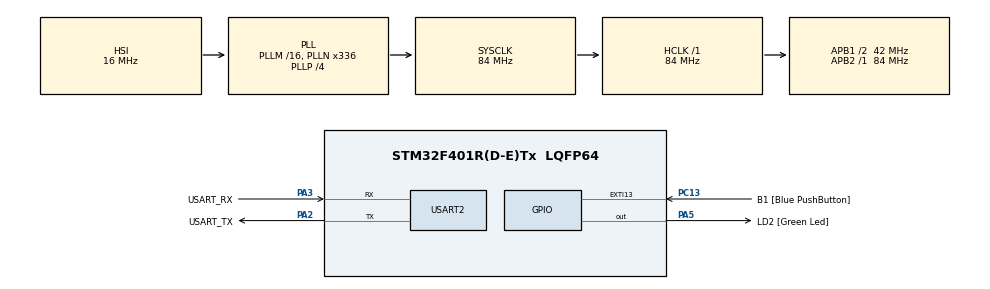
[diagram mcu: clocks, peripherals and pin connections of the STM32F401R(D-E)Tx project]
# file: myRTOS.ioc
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Mcu.Family=STM32F4
Mcu.Name=STM32F401R(D-E)Tx
Mcu.Package=LQFP64
NVIC.PriorityGroup=NVIC_PRIORITYGROUP_0
PA13.GPIO_Label=TMS
PA13.Mode=Serial_Wire
PA13.Signal=SYS_JTMS-SWDIO
PA14.GPIO_Label=TCK
PA14.Mode=Serial_Wire
PA14.Signal=SYS_JTCK-SWCLK
PA2.GPIO_Label=USART_TX
PA2.GPIO_Mode=GPIO_MODE_AF_PP
PA2.GPIO_PuPd=GPIO_NOPULL
PA2.GPIO_Speed=GPIO_SPEED_FREQ_LOW
PA2.Mode=Asynchronous
PA2.Signal=USART2_TX
PA3.GPIO_Label=USART_RX
PA3.GPIO_Mode=GPIO_MODE_AF_PP
PA3.GPIO_PuPd=GPIO_NOPULL
PA3.GPIO_Speed=GPIO_SPEED_FREQ_LOW
PA3.Mode=Asynchronous
PA3.Signal=USART2_RX
PA5.GPIO_Label=LD2 [Green Led]
PA5.GPIO_Mode=GPIO_MODE_OUTPUT_PP
PA5.GPIO_PuPd=GPIO_NOPULL
PA5.GPIO_Speed=GPIO_SPEED_FREQ_LOW
PA5.Signal=GPIO_Output
PB3.GPIO_Label=SWO
PB3.Signal=SYS_JTDO-SWO
PC13-ANTI_TAMP.GPIO_Label=B1 [Blue PushButton]
PC13-ANTI_TAMP.GPIO_ModeDefaultEXTI=GPIO_MODE_IT_FALLING
PC13-ANTI_TAMP.GPIO_PuPd=GPIO_NOPULL
PC13-ANTI_TAMP.Signal=GPXTI13
PC14-OSC32_IN.Mode=LSE-External-Oscillator
PC14-OSC32_IN.Signal=RCC_OSC32_IN
PC15-OSC32_OUT.Mode=LSE-External-Oscillator
PC15-OSC32_OUT.Signal=RCC_OSC32_OUT
PH0\ -\ OSC_IN.Mode=HSE-External-Clock-Source
PH0\ -\ OSC_IN.Signal=RCC_OSC_IN
PH1\ -\ OSC_OUT.Mode=HSE-External-Clock-Source
PH1\ -\ OSC_OUT.Signal=RCC_OSC_OUT
ProjectManager.HeapSize=0x200
ProjectManager.StackSize=0x400
ProjectManager.TargetToolchain=STM32CubeIDE
RCC.48MHZClocksFreq_Value=48000000
RCC.AHBFreq_Value=84000000
RCC.APB1CLKDivider=RCC_HCLK_DIV2
RCC.APB1Freq_Value=42000000
RCC.APB1TimFreq_Value=84000000
RCC.APB2Freq_Value=84000000
RCC.APB2TimFreq_Value=84000000
RCC.CortexFreq_Value=84000000
RCC.HCLKFreq_Value=84000000
RCC.HSE_VALUE=8000000
RCC.HSI_VALUE=16000000
RCC.PLLN=336
RCC.PLLP=RCC_PLLP_DIV4
RCC.PLLQ=7
RCC.SYSCLKFreq_VALUE=84000000
RCC.SYSCLKSource=RCC_SYSCLKSOURCE_PLLCLK
RCC.VCOOutputFreq_Value=336000000
USART2.VirtualMode=VM_ASYNC
board=NUCLEO-F401RE

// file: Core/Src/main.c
/* USER CODE BEGIN Header */
/**
  ******************************************************************************
  * @file           : main.c
  * @brief          : Main program body
  ******************************************************************************
  * @attention
  *
  * Copyright (c) 2023 STMicroelectronics.
  * All rights reserved.
  *
  * This software is licensed under terms that can be found in the LICENSE file
  * in the root directory of this software component.
  * If no LICENSE file comes with this software, it is provided AS-IS.
  *
  ******************************************************************************
  */
/* USER CODE END Header */
#include "main.h"
#include "kernel.h"
#include<stdio.h>

UART_HandleTypeDef huart2;

void SystemClock_Config(void);
static void MX_GPIO_Init(void);
static void MX_USART2_UART_Init(void);
uint32_t global_variable = 1;
//#define THREAD_STACK_SIZE 1024  // or any size suitable for your application

int __io_putchar(int ch)
{
	HAL_UART_Transmit(&huart2,(uint8_t*)&ch,1,HAL_MAX_DELAY);
	return ch;
}
/* USER CODE BEGIN PFP */
void thread_function(void* args)
{

}

void modify_global_variable(void* args){
	input_arguments input = *(input_arguments*)args;
	while(1)
	{
		global_variable += input.add;
		if (global_variable%21 == 0)
			global_variable /= input.div;
		osYield();
	}
}
void print_global_variable(void* args)
{
	uint32_t* input = (uint32_t*)args;
	while(1)
	{
		printf("global_variable: %ld\r\n", *input);
	}
}
void jumpAssembly(void* fcn)
{
	__asm("MOV PC, R0");
}

void print_error(void)
{
	__asm("SVC #1");
}
void print_success(void)
{
	__asm("SVC #0");
}
void run_thread(void)
{
	__asm("SVC #0x3");
}

/* USER CODE END PFP */

int main(void)
{

  /* MCU Configuration--------------------------------------------------------*/

  /* Reset of all peripherals, Initializes the Flash interface and the Systick. */
  HAL_Init();

  /* Configure the system clock */
  SystemClock_Config();

  /* Initialize all configured peripherals */
  MX_GPIO_Init();
  MX_USART2_UART_Init();
  /* USER CODE BEGIN 2 */
  // char m = 'm';

  //jumpAssembly((void*) print_continuously);
  //print_continuously();
  //print_error();
  //print_success();

  input_arguments threadArg;
  threadArg.add = 5;
  threadArg.div = 3;

  osKernelInitialize();
  if (osCreateThread((void*)modify_global_variable, (void*)&threadArg))
	  if (osCreateThreadWithDeadline((void*)print_global_variable, (void*)&global_variable, 50))
		  osKernelStart();
  // HAL_UART_Transmit(&huart2,&m,1,HAL_MAX_DELAY);
  // printf("MSP Init is: %p\n\r",MSP_INIT_VAL); //note the %p to print a

  //  uint32_t PSP_val = (uint32_t)MSP_INIT_VAL - 0x400;
  //  __set_PSP(PSP_val);

  //__set_CONTROL(2);
  // pointer. It will be in hex

  /* USER CODE END 2 */

  /* Infinite loop */
  while (1)
  {
  }
}

void SystemClock_Config(void)
{
  RCC_OscInitTypeDef RCC_OscInitStruct = {0};
  RCC_ClkInitTypeDef RCC_ClkInitStruct = {0};

  /** Configure the main internal regulator output voltage
  */
  __HAL_RCC_PWR_CLK_ENABLE();
  __HAL_PWR_VOLTAGESCALING_CONFIG(PWR_REGULATOR_VOLTAGE_SCALE2);

  /** Initializes the RCC Oscillators according to the specified parameters
  * in the RCC_OscInitTypeDef structure.
  */
  RCC_OscInitStruct.OscillatorType = RCC_OSCILLATORTYPE_HSI;
  RCC_OscInitStruct.HSIState = RCC_HSI_ON;
  RCC_OscInitStruct.HSICalibrationValue = RCC_HSICALIBRATION_DEFAULT;
  RCC_OscInitStruct.PLL.PLLState = RCC_PLL_ON;
  RCC_OscInitStruct.PLL.PLLSource = RCC_PLLSOURCE_HSI;
  RCC_OscInitStruct.PLL.PLLM = 16;
  RCC_OscInitStruct.PLL.PLLN = 336;
  RCC_OscInitStruct.PLL.PLLP = RCC_PLLP_DIV4;
  RCC_OscInitStruct.PLL.PLLQ = 7;
  if (HAL_RCC_OscConfig(&RCC_OscInitStruct) != HAL_OK)
  {
    Error_Handler();
  }

  /** Initializes the CPU, AHB and APB buses clocks
  */
  RCC_ClkInitStruct.ClockType = RCC_CLOCKTYPE_HCLK|RCC_CLOCKTYPE_SYSCLK
                              |RCC_CLOCKTYPE_PCLK1|RCC_CLOCKTYPE_PCLK2;
  RCC_ClkInitStruct.SYSCLKSource = RCC_SYSCLKSOURCE_PLLCLK;
  RCC_ClkInitStruct.AHBCLKDivider = RCC_SYSCLK_DIV1;
  RCC_ClkInitStruct.APB1CLKDivider = RCC_HCLK_DIV2;
  RCC_ClkInitStruct.APB2CLKDivider = RCC_HCLK_DIV1;

  if (HAL_RCC_ClockConfig(&RCC_ClkInitStruct, FLASH_LATENCY_2) != HAL_OK)
  {
    Error_Handler();
  }
}

static void MX_USART2_UART_Init(void)
{

  huart2.Instance = USART2;
  huart2.Init.BaudRate = 115200;
  huart2.Init.WordLength = UART_WORDLENGTH_8B;
  huart2.Init.StopBits = UART_STOPBITS_1;
  huart2.Init.Parity = UART_PARITY_NONE;
  huart2.Init.Mode = UART_MODE_TX_RX;
  huart2.Init.HwFlowCtl = UART_HWCONTROL_NONE;
  huart2.Init.OverSampling = UART_OVERSAMPLING_16;
  if (HAL_UART_Init(&huart2) != HAL_OK)
  {
    Error_Handler();
  }

}

static void MX_GPIO_Init(void)
{
  GPIO_InitTypeDef GPIO_InitStruct = {0};

  /* GPIO Ports Clock Enable */
  __HAL_RCC_GPIOC_CLK_ENABLE();
  __HAL_RCC_GPIOH_CLK_ENABLE();
  __HAL_RCC_GPIOA_CLK_ENABLE();
  __HAL_RCC_GPIOB_CLK_ENABLE();

  /*Configure GPIO pin Output Level */
  HAL_GPIO_WritePin(LD2_GPIO_Port, LD2_Pin, GPIO_PIN_RESET);

  /*Configure GPIO pin : B1_Pin */
  GPIO_InitStruct.Pin = B1_Pin;
  GPIO_InitStruct.Mode = GPIO_MODE_IT_FALLING;
  GPIO_InitStruct.Pull = GPIO_NOPULL;
  HAL_GPIO_Init(B1_GPIO_Port, &GPIO_InitStruct);

  /*Configure GPIO pin : LD2_Pin */
  GPIO_InitStruct.Pin = LD2_Pin;
  GPIO_InitStruct.Mode = GPIO_MODE_OUTPUT_PP;
  GPIO_InitStruct.Pull = GPIO_NOPULL;
  GPIO_InitStruct.Speed = GPIO_SPEED_FREQ_LOW;
  HAL_GPIO_Init(LD2_GPIO_Port, &GPIO_InitStruct);

}

void Error_Handler(void)
{
  __disable_irq();
  while (1)
  {
  }
}
